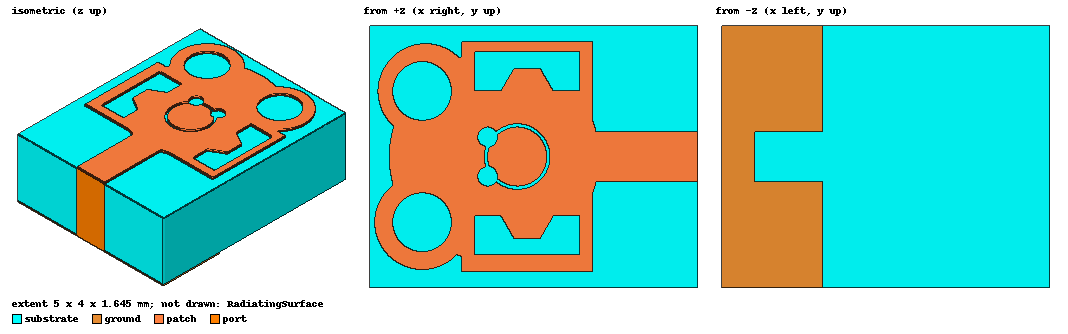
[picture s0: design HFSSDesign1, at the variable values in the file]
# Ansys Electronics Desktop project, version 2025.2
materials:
  vacuum: permittivity=1
  copper: permeability=0.999991 conductivity=58000000
  Rogers RT/duroid 5880 (tm): permittivity=2.2 dielectric_loss_tangent=0.0009
  air: permittivity=1.0006 permeability=1.0000004
  FR4_epoxy: permittivity=4.4 dielectric_loss_tangent=0.02

design HFSSDesign1 (HFSS, HFSS Terminal Network, model units mm)
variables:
  Lg = 5mm
  Wg = 4mm
  Hp = 0.035mm
  Hs = 1.575mm
  a = 0.3mm
  Rp = 1.6mm
  Wf = 0.75mm
  Lf = 1.65mm
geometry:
  ground [copper] = box(corner=(0mm, 0mm, 0mm), size=(Lg, Wg, Hp))
  substrate [FR4_epoxy] = box(corner=(0mm, 0mm, Hp), size=(Lg, Wg, Hs))
  patch [copper] = cylinder(axis=Z, base_centre=(a+Rp, Wg/2, Hp+Hs), radius=Rp, height=Hp)
  feedline = box(corner=(a/2+2*Rp, Wg/2-Wf/2, Hp+Hs), size=(Lf, Wf, Hp))
  patch.unite(feedline)
  port = rectangle(corner=(Lg, Wg/2-Wf/2, Hp+Hs), y_size=Wf, z_size=-(Hp+Hs))
  RadiatingSurface [air] = region(absolute_offset=3.5714286mm on all sides)
  Box1 = box(corner=(0mm, 0mm, 0mm), size=(3.4565mm, 4mm, 0.035mm))
  ground.subtract(Box1)
  Box2 = box(corner=(3.455434mm, 1.625mm, 0mm), size=(1.044566mm, Wf, 0.035mm))
  ground.subtract(Box2)
  Cylinder2 = cylinder(axis=Z, base_centre=(0.8mm, 1mm, Hs+Hp), radius=0.72111026mm, height=Hp)
  patch.unite(Cylinder2)
  Cylinder3 = cylinder(axis=Z, base_centre=(0.85mm, 3mm, Hs+Hp), radius=0.72111026mm, height=Hp)
  patch.unite(Cylinder3)
  Box3 = box(corner=(1.4mm, 0.25mm, Hs+Hp), size=(2mm, 3.5mm, Hp))
  patch.unite(Box3)
  Box4 = box(corner=(1.6mm, 0.5mm, 1.61mm), size=(1.6mm, 0.6mm, Hp))
  patch.subtract(Box4)
  Box5 = box(corner=(1.6mm, 3mm, Hs+Hp), size=(1.6mm, 0.6mm, Hp))
  patch.subtract(Box5)
  Cylinder4 = cylinder(axis=Z, base_centre=(0.8mm, 1mm, Hs+Hp), radius=0.4472136mm, height=Hp)
  Cylinder6 = cylinder(axis=Z, base_centre=(0.8mm, 3mm, 1.61mm), radius=0.4472136mm, height=0.035mm)
  patch.subtract(Cylinder6)
  patch.subtract(Cylinder4)
  Cylinder7 = cylinder(axis=Z, base_centre=(2.25mm, 2mm, Hs+Hp), radius=0.5mm, height=Hp)
  patch.subtract(Cylinder7)
  C8 = cylinder(axis=Z, base_centre=(2.25mm, 2mm, Hs+Hp), radius=0.45mm, height=Hp)
  patch.unite(C8)
  C9 = cylinder(axis=Z, base_centre=(1.8mm, 1.7mm, Hs+Hp), radius=0.15mm, height=Hp)
  C10 = cylinder(axis=Z, base_centre=(1.8mm, 2.3mm, Hs+Hp), radius=0.15mm, height=Hp)
  patch.subtract(C10, C9)
  C11 = cylinder(axis=Z, base_centre=(2.4mm, 1.1mm, Hs+Hp), radius=0.4mm, height=Hp, segments=6)
  C12 = cylinder(axis=Z, base_centre=(2.4mm, 3mm, Hs+Hp), radius=0.4mm, height=Hp, segments=6)
  patch.unite(C11, C12)
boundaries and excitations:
  Open1: Radiation Objects=RadiatingSurface
  port_T1: Terminal port=1 Edges=patch.edge(at (5, 2, 1.61)) TerminalResistance=50ohm
  1: Lumped Port Faces=port.face LumpedPortType=Terminal Impedance=50ohm
  reference conductors: ground
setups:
  Setup1: HfssDriven Frequency=28GHz MaxDeltaS=0.02 MaximumPasses=20 MinimumPasses=1 MinimumConvergedPasses=1 PercentRefinement=30 BasisOrder=1 PortAccuracy=2 DrivenSolverType="Direct Solver"
    sweep Sweep: 20GHz to 45GHz, 401 points; Type=Fast SaveFields
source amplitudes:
  1:1: 1V 0deg
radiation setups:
  3D: Infinite Sphere Theta=0deg..180deg step 2deg Phi=-180deg..180deg step 2deg
  Elevation: Infinite Sphere Theta=-180deg..180deg step 1deg Phi=0deg..90deg step 90deg
  Azimuth: Infinite Sphere Theta=90deg..90deg step 0deg Phi=-180deg..180deg step 1deg
  Infinite Sphere1: Infinite Sphere Theta=0deg..360deg step 10deg Phi=0..360deg step 10deg
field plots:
  Mag_Jsurf1, Mag_Jsurf2: Jsurf over patch.face(all 46) on Setup1 : LastAdaptive at Freq=28GHz Phase=0deg
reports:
  Terminal S Parameter Plot1: dB(St(port_T1,port_T1)) vs Freq on Setup1 : Sweep; markers m1 at 33.4375GHz, m2 at 32.375GHz, m3 at 35.6875GHz
  Gain Plot1: dB(GainTotal) vs Phi, Theta on Setup1 : LastAdaptive, 3D [Freq=28GHz]
  Terminal VSWR Plot1: dB(VSWRt(port_T1)) vs Freq on Setup1 : Sweep; markers m1 at 33.4375GHz
  rE Plot1: dB(rETotal) vs Phi, Theta on Setup1 : LastAdaptive, 3D [Freq=28GHz]
  Directivity Plot1: dB(DirTotal) vs Phi, Theta on Setup1 : LastAdaptive, 3D [Freq=28GHz]
